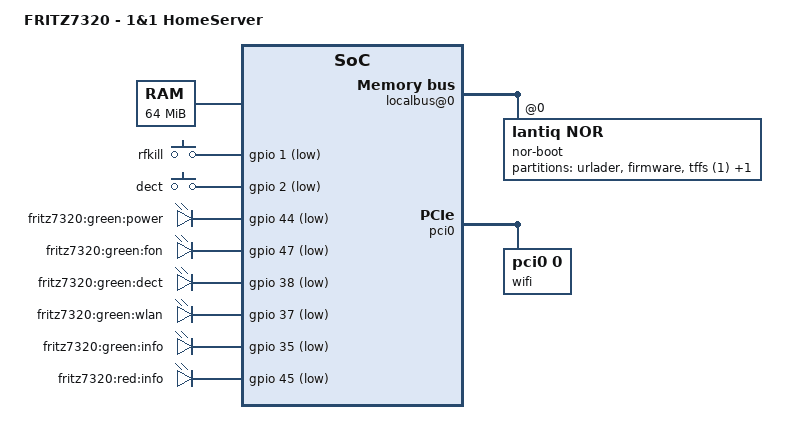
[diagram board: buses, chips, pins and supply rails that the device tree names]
/dts-v1/;

#include "ar9.dtsi"

#include <dt-bindings/input/input.h>

/ {
	model = "FRITZ7320 - 1&1 HomeServer";

	chosen {
		bootargs = "console=ttyLTQ0,115200";
	};

	aliases {
		led-boot = &power;
		led-failsafe = &power;
		led-running = &power;

		led-internet = &info_green;
		led-dsl = &power;
		led-wifi = &wlan;
	};

	memory@0 {
		reg = <0x0 0x4000000>;
	};

	fpi@10000000 {
		localbus@0 {
			nor-boot@0 {
				compatible = "lantiq,nor";
				bank-width = <2>;
				reg = <0 0x0 0x1000000>;
				#address-cells = <1>;
				#size-cells = <1>;

				partitions {
					compatible = "fixed-partitions";
					#address-cells = <1>;
					#size-cells = <1>;

					ath9k_cal: partition@0 {
						label = "urlader";
						reg = <0x00000 0x20000>;
						read-only;
					};

					partition@20000 {
						label = "firmware";
						reg = <0x20000 0xf60000>;
					};

					partition@f80000 {
						label = "tffs (1)";
						reg = <0xf80000 0x40000>;
						read-only;
					};

					partition@fc0000 {
						label = "tffs (2)";
						reg = <0xfc0000 0x40000>;
						read-only;
					};
				};
			};
		};

		gpio: pinmux@E100B10 {
			pinctrl-names = "default";
			pinctrl-0 = <&state_default>;

			state_default: pinmux {
				pci {
					lantiq,groups = "gnt1", "req1", "req2", "req3", "req4", "gnt2", "gnt3", "gnt4";
					lantiq,function = "pci";
				};
				pci-in {
					lantiq,groups = "req1", "req2", "req3", "req4";
					lantiq,output = <0>;
					lantiq,open-drain = <1>;
					lantiq,pull = <2>;
				};
				pci-out {
					lantiq,groups = "gnt1", "gnt2", "gnt3", "gnt4";
					lantiq,output = <1>;
					lantiq,pull = <0>;
				};
			};
		};

		etop@E180000 {
			phy-mode = "mii";
			mtd-mac-address = <&ath9k_cal 0xa91>;
			mtd-mac-address-increment = <(-2)>;
		};

		ifxhcd@E101000 {
			status = "okay";
		};
	};

	gpio-keys-polled {
		compatible = "gpio-keys-polled";
		#address-cells = <1>;
		#size-cells = <0>;
		poll-interval = <100>;

		rfkill {
			label = "rfkill";
			gpios = <&gpio 1 GPIO_ACTIVE_LOW>;
			linux,code = <KEY_RFKILL>;
		};
		dect {
			label = "dect";
			gpios = <&gpio 2 GPIO_ACTIVE_LOW>;
			linux,code = <KEY_PHONE>;
		};
	};

	gpio-leds {
		compatible = "gpio-leds";
		power: power {
			label = "fritz7320:green:power";
			gpios = <&gpio 44 GPIO_ACTIVE_LOW>;
			default-state = "keep";
		};
		voice {
			label = "fritz7320:green:fon";
			gpios = <&gpio 47 GPIO_ACTIVE_LOW>;
		};
		dect {
			label = "fritz7320:green:dect";
			gpios = <&gpio 38 GPIO_ACTIVE_LOW>;
		};
		wlan: wlan {
			label = "fritz7320:green:wlan";
			gpios = <&gpio 37 GPIO_ACTIVE_LOW>;
		};
		info_green: info_green {
			label = "fritz7320:green:info";
			gpios = <&gpio 35 GPIO_ACTIVE_LOW>;
		};
		info_red {
			label = "fritz7320:red:info";
			gpios = <&gpio 45 GPIO_ACTIVE_LOW>;
		};
	};
};

&pci0 {
	status = "okay";
	req-mask = <0xf>;
	gpio-reset = <&gpio 21 GPIO_ACTIVE_HIGH>;

	wifi@0,0 {
		compatible = "pci0,0";
		reg = <0x7000 0 0 0 0>;
		qca,no-eeprom; /* load from ath9k-eeprom-pci-0000:00:0e.0.bin */
	};
};
